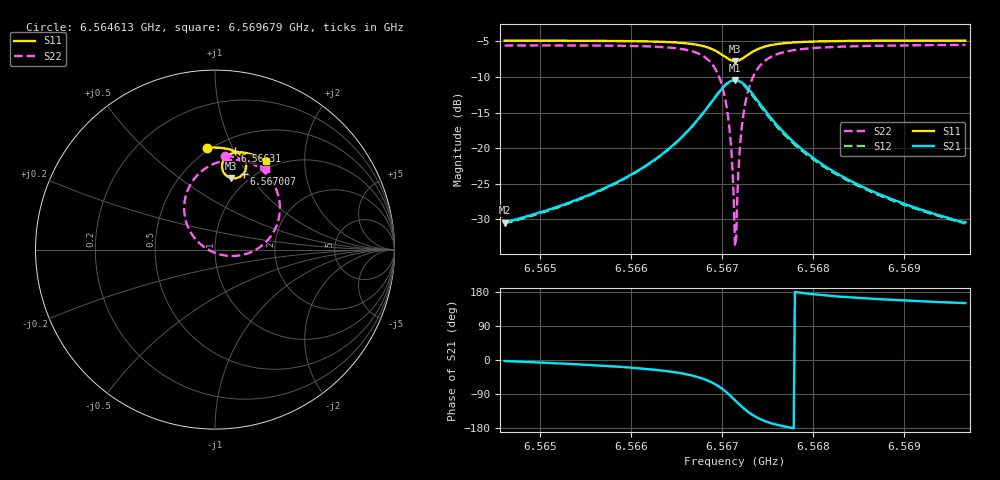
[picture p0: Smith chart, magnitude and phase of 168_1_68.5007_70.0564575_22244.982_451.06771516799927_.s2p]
#  HZ  S  RI  R  50.00
! Rohde & Schwarz Vector Network Analyzer
! Rohde-Schwarz,ZNB20-2Port,1311601062101988,3.16
! Created: UTC 3/20/2024, 5:11:13 PM
! freq[Hz]  re:S11  im:S11  re:S21  im:S21  re:S12  im:S12  re:S22  im:S22
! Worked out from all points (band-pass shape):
!   401 points, 6.564613 GHz to 6.569679 GHz, reference 50 ohm
!   highest |S21| = -10.43 dB at 6.567146 GHz (marker M1); lowest = -30.4 dB at 6.564613 GHz (marker M2)
!   |S21| within 3 dB of the highest: 6.566894 GHz to 6.5674 GHz (506.6 kHz wide, 0.00771 % of centre)
!   lowest |S11| = -7.8 dB at 6.567146 GHz (marker M3), VSWR 2.38, Z = 42.3 + j40.5 ohm
!   |S11| at or under -10 dB: nowhere
!   |S22| runs from -33.8 to -5.5 dB; largest |S21 - S12| = 0.015
!   S11 on the Smith chart (normalised r, x): 6.564613 GHz: 0.48, +0.80; 6.56631 GHz: 0.63, +1.00; 6.567007 GHz: 0.90, +0.95; 6.569679 GHz: 0.90, +1.31
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6.5646128e9  -0.0431 0.5674  0.03 -0.00139  0.0295 -0.00188  0.0579 0.5226
6.5654614e9  0.0276 0.5671  0.044 -0.00932  0.0431 -0.00992  0.1412 0.5067
6.56631e9  0.1097 0.5484  0.078 -0.0395  0.0768 -0.0404  0.2614 0.4435
6.5666013e9  0.1448 0.5262  0.1012 -0.0767  0.0996 -0.0782  0.3237 0.37
6.5668039e9  0.1687 0.4912  0.1144 -0.1377  0.1117 -0.1407  0.3609 0.2523
6.5669179e9  0.1727 0.4566  0.1028 -0.1984  0.0977 -0.2023  0.3443 0.1364
6.5670066e9  0.1588 0.4229  0.062 -0.256  0.0529 -0.2594  0.2692 0.0291
6.5670446e9  0.1454 0.4098  0.0309 -0.2775  0.0198 -0.2793  0.2113 -0.0091
6.5670826e9  0.1274 0.4004  -0.00875 -0.2917  -0.0212 -0.2911  0.1386 -0.0324
6.5671079e9  0.1134 0.3972  -0.0382 -0.295  -0.0514 -0.2923  0.0848 -0.0357
6.5671332e9  0.0986 0.3971  -0.0687 -0.2926  -0.0819 -0.2874  0.0305 -0.028
6.5671459e9  0.0912 0.3984  -0.0837 -0.2891  -0.0967 -0.2827  0.00407 -0.0201
6.5671586e9  0.0841 0.4005  -0.0985 -0.2842  -0.1109 -0.2767  -0.0214 -0.00943
6.5671712e9  0.0772 0.4032  -0.1126 -0.2777  -0.1244 -0.2691  -0.0454 0.00382
6.5671966e9  0.0648 0.411  -0.1381 -0.2612  -0.1482 -0.2508  -0.0879 0.0364
6.5672346e9  0.0505 0.4264  -0.1679 -0.2299  -0.175 -0.2177  -0.1353 0.0957
6.5672852e9  0.0406 0.4497  -0.1903 -0.1834  -0.1934 -0.1711  -0.1669 0.1801
6.5673486e9  0.0402 0.477  -0.1964 -0.1304  -0.196 -0.1195  -0.1684 0.2731
6.5675765e9  0.0783 0.5289  -0.1502 -0.0289  -0.1469 -0.0243  -0.0658 0.4438
6.5679945e9  0.1415 0.5424  -0.0858 0.00922  -0.0836 0.0107  0.0764 0.4984
6.5688431e9  0.2235 0.5233  -0.0416 0.0158  -0.0407 0.0161  0.208 0.4827
6.569679e9  0.2865 0.4937  -0.0262 0.015  -0.0254 0.0151  0.2849 0.4488
